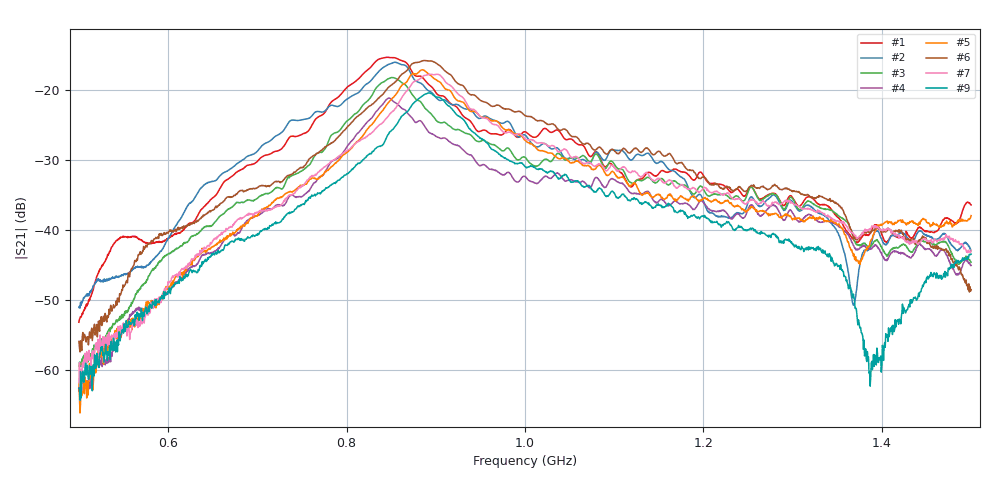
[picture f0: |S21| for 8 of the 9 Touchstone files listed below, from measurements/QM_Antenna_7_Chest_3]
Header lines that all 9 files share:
!Agilent Technologies,E8364B,US42250235,A.06.04.32
!Agilent E8364B: A.06.04.32
!Correction: S11(Full 2 Port(1,2)) S21(Full 2 Port(1,2)) S12(Full 2 Port(1,2)) S22(Full 2 Port(1,2))
!S2P File: Measurements: S11, S21, S12, S22:
# Hz S  dB  R 50
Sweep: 500 MHz to 1.5 GHz
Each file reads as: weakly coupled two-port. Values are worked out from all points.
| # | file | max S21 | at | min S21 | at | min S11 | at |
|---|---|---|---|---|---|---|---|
| 1 | 0_2.s2p | -15.39 dB | 845 MHz | -53.2 dB | 500 MHz | -23.1 dB | 982.4 MHz |
| 2 | 0_3.s2p | -16.10 dB | 854.5 MHz | -51.2 dB | 501.1 MHz | -30.4 dB | 1.207 GHz |
| 3 | 0_7.s2p | -18.28 dB | 851.5 MHz | -59.6 dB | 501.1 MHz | -34.3 dB | 1.132 GHz |
| 4 | 0_11.s2p | -21.21 dB | 848.1 MHz | -63.2 dB | 501.9 MHz | -40.3 dB | 962.4 MHz |
| 5 | 2_3.s2p | -17.17 dB | 885 MHz | -66.2 dB | 501.2 MHz | -65.5 dB | 851.2 MHz |
| 6 | 3_3.s2p | -15.84 dB | 887.5 MHz | -57.4 dB | 501.2 MHz | -50.7 dB | 1.127 GHz |
| 7 | 3_5.s2p | -17.79 dB | 893.8 MHz | -63.3 dB | 501.2 MHz | -38.9 dB | 960.6 MHz |
| 8 | 4_5.s2p | -18.70 dB | 888.1 MHz | -63.0 dB | 500.6 MHz | -36.7 dB | 876.9 MHz |
| 9 | 5_5.s2p | -20.46 dB | 892.5 MHz | -64.3 dB | 501.2 MHz | -43.1 dB | 912.5 MHz |
